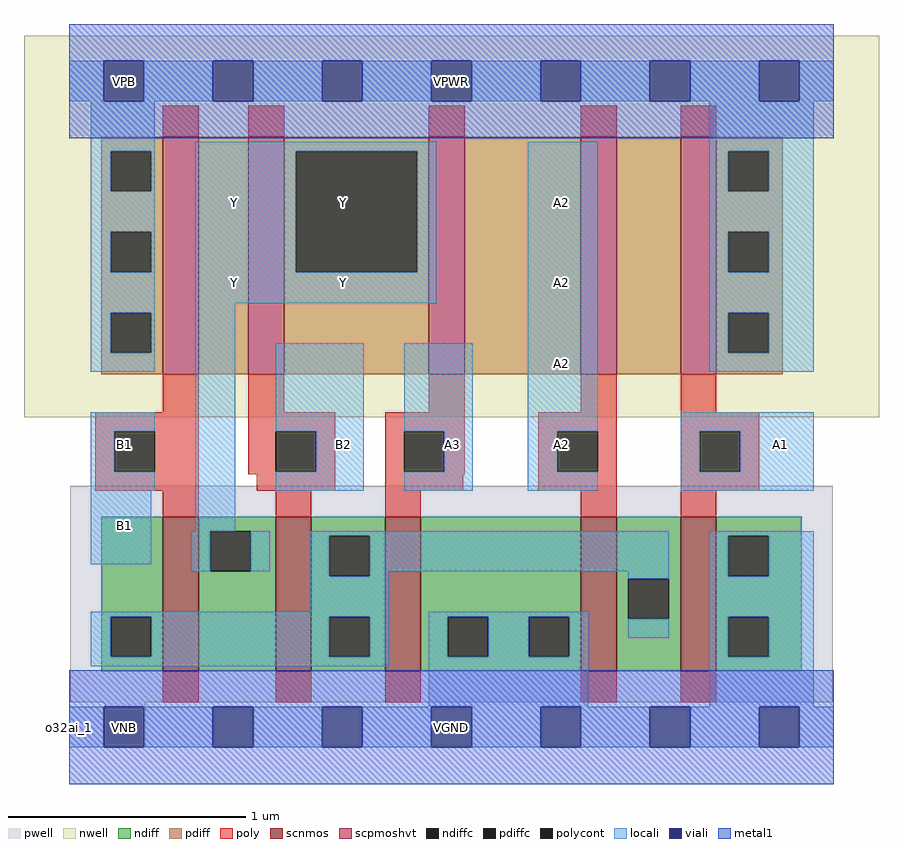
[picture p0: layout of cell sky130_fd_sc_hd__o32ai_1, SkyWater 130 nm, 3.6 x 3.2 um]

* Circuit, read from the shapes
.subckt sky130_fd_sc_hd__o32ai_1 A1 A2 A3 B1 B2 VGND VNB VPB VPWR Y
XM1 Y B1 n1 VNB sky130_fd_pr__nfet_01v8 w=0.65 l=0.15
XM2 n1 B2 Y VNB sky130_fd_pr__nfet_01v8 w=0.65 l=0.15
XM3 VGND A3 n1 VNB sky130_fd_pr__nfet_01v8 w=0.65 l=0.15
XM4 n1 A2 VGND VNB sky130_fd_pr__nfet_01v8 w=0.65 l=0.15
XM5 VGND A1 n1 VNB sky130_fd_pr__nfet_01v8 w=0.65 l=0.15
XM6 n2 B1 VPWR VPB sky130_fd_pr__pfet_01v8_hvt w=1 l=0.15
XM7 Y B2 n2 VPB sky130_fd_pr__pfet_01v8_hvt w=1 l=0.15
XM8 n3 A3 Y VPB sky130_fd_pr__pfet_01v8_hvt w=1 l=0.15
XM9 n4 A2 n3 VPB sky130_fd_pr__pfet_01v8_hvt w=1 l=0.15
XM10 VPWR A1 n4 VPB sky130_fd_pr__pfet_01v8_hvt w=1 l=0.15
.ends

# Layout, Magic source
magic
tech sky130A
magscale 1 2
<< nwell >>
rect -38 261 682 582
<< pwell >>
rect 1 21 643 203
rect 30 -17 64 21
<< scnmos >>
rect 79 47 109 177
rect 174 47 204 177
rect 266 47 296 177
rect 431 47 461 177
rect 515 47 545 177
<< scpmoshvt >>
rect 79 297 109 497
rect 151 297 181 497
rect 303 297 333 497
rect 431 297 461 497
rect 515 297 545 497
<< ndiff >>
rect 27 93 79 177
rect 27 59 35 93
rect 69 59 79 93
rect 27 47 79 59
rect 109 165 174 177
rect 109 131 119 165
rect 153 131 174 165
rect 109 47 174 131
rect 204 161 266 177
rect 204 127 219 161
rect 253 127 266 161
rect 204 93 266 127
rect 204 59 219 93
rect 253 59 266 93
rect 204 47 266 59
rect 296 93 431 177
rect 296 59 319 93
rect 353 59 387 93
rect 421 59 431 93
rect 296 47 431 59
rect 461 125 515 177
rect 461 91 471 125
rect 505 91 515 125
rect 461 47 515 91
rect 545 161 617 177
rect 545 127 555 161
rect 589 127 617 161
rect 545 93 617 127
rect 545 59 555 93
rect 589 59 617 93
rect 545 47 617 59
<< pdiff >>
rect 27 485 79 497
rect 27 451 35 485
rect 69 451 79 485
rect 27 417 79 451
rect 27 383 35 417
rect 69 383 79 417
rect 27 349 79 383
rect 27 315 35 349
rect 69 315 79 349
rect 27 297 79 315
rect 109 297 151 497
rect 181 485 303 497
rect 181 383 191 485
rect 293 383 303 485
rect 181 297 303 383
rect 333 297 431 497
rect 461 297 515 497
rect 545 485 601 497
rect 545 451 555 485
rect 589 451 601 485
rect 545 417 601 451
rect 545 383 555 417
rect 589 383 601 417
rect 545 349 601 383
rect 545 315 555 349
rect 589 315 601 349
rect 545 297 601 315
<< ndiffc >>
rect 35 59 69 93
rect 119 131 153 165
rect 219 127 253 161
rect 219 59 253 93
rect 319 59 353 93
rect 387 59 421 93
rect 471 91 505 125
rect 555 127 589 161
rect 555 59 589 93
<< pdiffc >>
rect 35 451 69 485
rect 35 383 69 417
rect 35 315 69 349
rect 191 383 293 485
rect 555 451 589 485
rect 555 383 589 417
rect 555 315 589 349
<< poly >>
rect 79 497 109 523
rect 151 497 181 523
rect 303 497 333 523
rect 431 497 461 523
rect 515 497 545 523
rect 79 265 109 297
rect 22 249 109 265
rect 22 215 38 249
rect 72 215 109 249
rect 22 199 109 215
rect 151 265 181 297
rect 303 265 333 297
rect 431 265 461 297
rect 151 249 224 265
rect 151 215 174 249
rect 208 215 224 249
rect 151 213 224 215
rect 158 199 224 213
rect 266 249 333 265
rect 266 215 282 249
rect 316 215 333 249
rect 266 213 333 215
rect 395 249 461 265
rect 395 215 411 249
rect 445 215 461 249
rect 266 199 332 213
rect 395 199 461 215
rect 79 177 109 199
rect 174 177 204 199
rect 266 177 296 199
rect 431 177 461 199
rect 515 265 545 297
rect 515 249 581 265
rect 515 215 531 249
rect 565 215 581 249
rect 515 199 581 215
rect 515 177 545 199
rect 79 21 109 47
rect 174 21 204 47
rect 266 21 296 47
rect 431 21 461 47
rect 515 21 545 47
<< polycont >>
rect 38 215 72 249
rect 174 215 208 249
rect 282 215 316 249
rect 411 215 445 249
rect 531 215 565 249
<< locali >>
rect 0 527 29 561
rect 63 527 121 561
rect 155 527 213 561
rect 247 527 305 561
rect 339 527 397 561
rect 431 527 489 561
rect 523 527 581 561
rect 615 527 644 561
rect 18 485 72 527
rect 18 451 35 485
rect 69 451 72 485
rect 18 417 72 451
rect 18 383 35 417
rect 69 383 72 417
rect 18 349 72 383
rect 18 315 35 349
rect 69 315 72 349
rect 18 299 72 315
rect 106 485 309 493
rect 106 383 191 485
rect 293 383 309 485
rect 106 357 309 383
rect 18 249 72 265
rect 18 215 38 249
rect 18 199 72 215
rect 18 137 69 199
rect 106 165 140 357
rect 174 249 248 323
rect 208 215 248 249
rect 174 199 248 215
rect 282 249 340 323
rect 316 215 340 249
rect 282 199 340 215
rect 386 249 445 493
rect 539 485 627 527
rect 539 451 555 485
rect 589 451 627 485
rect 539 417 627 451
rect 539 383 555 417
rect 589 383 627 417
rect 539 349 627 383
rect 539 315 555 349
rect 589 315 627 349
rect 539 299 627 315
rect 386 215 411 249
rect 386 199 445 215
rect 515 249 627 265
rect 515 215 531 249
rect 565 215 627 249
rect 515 199 627 215
rect 103 131 119 165
rect 153 131 169 165
rect 203 161 505 165
rect 203 127 219 161
rect 253 131 505 161
rect 253 127 269 131
rect 203 97 269 127
rect 471 125 505 131
rect 18 93 269 97
rect 18 59 35 93
rect 69 59 219 93
rect 253 59 269 93
rect 18 51 269 59
rect 303 93 437 97
rect 303 59 319 93
rect 353 59 387 93
rect 421 59 437 93
rect 471 75 505 91
rect 539 161 627 165
rect 539 127 555 161
rect 589 127 627 161
rect 539 93 627 127
rect 303 17 437 59
rect 539 59 555 93
rect 589 59 627 93
rect 539 17 627 59
rect 0 -17 29 17
rect 63 -17 121 17
rect 155 -17 213 17
rect 247 -17 305 17
rect 339 -17 397 17
rect 431 -17 489 17
rect 523 -17 581 17
rect 615 -17 644 17
<< viali >>
rect 29 527 63 561
rect 121 527 155 561
rect 213 527 247 561
rect 305 527 339 561
rect 397 527 431 561
rect 489 527 523 561
rect 581 527 615 561
rect 29 -17 63 17
rect 121 -17 155 17
rect 213 -17 247 17
rect 305 -17 339 17
rect 397 -17 431 17
rect 489 -17 523 17
rect 581 -17 615 17
<< metal1 >>
rect 0 561 644 592
rect 0 527 29 561
rect 63 527 121 561
rect 155 527 213 561
rect 247 527 305 561
rect 339 527 397 561
rect 431 527 489 561
rect 523 527 581 561
rect 615 527 644 561
rect 0 496 644 527
rect 0 17 644 48
rect 0 -17 29 17
rect 63 -17 121 17
rect 155 -17 213 17
rect 247 -17 305 17
rect 339 -17 397 17
rect 431 -17 489 17
rect 523 -17 581 17
rect 615 -17 644 17
rect 0 -48 644 -17
<< labels >>
flabel locali s 398 425 432 459 0 FreeSans 250 0 0 0 A2
port 2 nsew signal input
flabel locali s 398 357 432 391 0 FreeSans 250 0 0 0 A2
port 2 nsew signal input
flabel locali s 398 289 432 323 0 FreeSans 250 0 0 0 A2
port 2 nsew signal input
flabel locali s 214 357 248 391 0 FreeSans 250 0 0 0 Y
port 10 nsew signal output
flabel locali s 214 425 248 459 0 FreeSans 250 0 0 0 Y
port 10 nsew signal output
flabel locali s 122 357 156 391 0 FreeSans 250 0 0 0 Y
port 10 nsew signal output
flabel locali s 122 425 156 459 0 FreeSans 250 0 0 0 Y
port 10 nsew signal output
flabel locali s 582 221 616 255 0 FreeSans 250 0 0 0 A1
port 1 nsew signal input
flabel locali s 398 221 432 255 0 FreeSans 250 0 0 0 A2
port 2 nsew signal input
flabel locali s 306 221 340 255 0 FreeSans 250 0 0 0 A3
port 3 nsew signal input
flabel locali s 214 221 248 255 0 FreeSans 250 0 0 0 B2
port 5 nsew signal input
flabel locali s 30 221 64 255 0 FreeSans 250 0 0 0 B1
port 4 nsew signal input
flabel locali s 30 153 64 187 0 FreeSans 250 0 0 0 B1
port 4 nsew signal input
flabel nwell s 30 527 64 561 0 FreeSans 200 0 0 0 VPB
port 8 nsew power bidirectional
flabel pwell s 30 -17 64 17 0 FreeSans 200 0 0 0 VNB
port 7 nsew ground bidirectional
flabel metal1 s 30 -17 64 17 0 FreeSans 200 0 0 0 VGND
port 6 nsew ground bidirectional abutment
flabel metal1 s 30 527 64 561 0 FreeSans 200 0 0 0 VPWR
port 9 nsew power bidirectional abutment
rlabel comment s 0 0 0 0 4 o32ai_1
rlabel metal1 s 0 -48 644 48 1 VGND
port 6 nsew ground bidirectional abutment
rlabel metal1 s 0 496 644 592 1 VPWR
port 9 nsew power bidirectional abutment
<< properties >>
string FIXED_BBOX 0 0 644 544
string GDS_END 1482806
string GDS_FILE $PDKPATH/libs.ref/sky130_fd_sc_hd/gds/sky130_fd_sc_hd.gds
string GDS_START 1476130
string LEFclass CORE
string LEFsite unithd
string LEFsymmetry X Y R90
string path 0.000 0.000 3.220 0.000 
<< end >>
